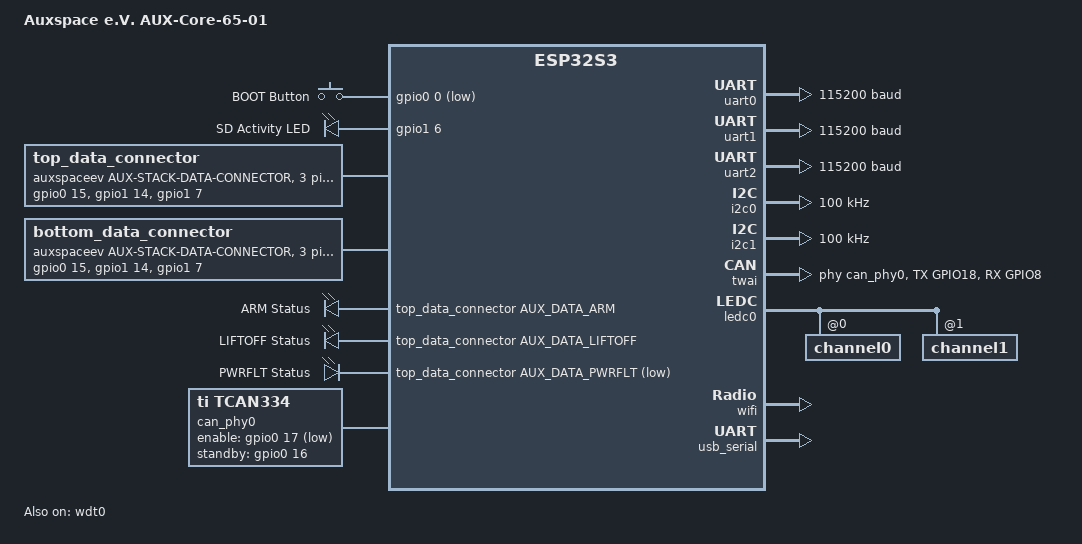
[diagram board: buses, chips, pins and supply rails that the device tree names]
/*
 * Copyright (c) 2025-2026 Auxspace e.V.
 *
 * SPDX-License-Identifier: Apache-2.0
 *
 * AUX-Core-6501 hardware:
 *   - ESP32-S3-WROOM-1 (U4)
 *   - Native SDHC micro-SD slot (J6), 4-bit, no separate card-detect line
 *   - ST LSM6DSO32 6-DoF IMU (U5) at 0x6a, INT1 on GPIO21
 *   - ST LSM6DSV320X high-g IMU (U1) at 0x6b, INT1 on GPIO10
 *   - TE MS5607-02BA barometer (U6) at 0x77, no interrupt line
 *   - ST LIS3MDL magnetometer (U7) at 0x1c, DRDY on GPIO48
 *   - TI TCAN334 CAN transceiver (U3) with STB and SHDN under GPIO control
 *   - Two AUX-Stack data connectors (J1 top, J2 bottom)
 *   - Green STATE LED (D4) and SD LED (D5); D3 is a hard-wired power LED
 *   - Buzzer (BZ1) driven through the Q1 FET
 *   - USB-C (J7) with a CH224A PD sink, native USB-Serial/JTAG console
 *
 * There is no remove-before-flight input on rev 01 and none is needed: the
 * AUX-Pwr board is the interlock, and only powers the Core board when the
 * vehicle should be armed. ARM and LIFTOFF are outputs towards the stack.
 */

#include <zephyr/dt-bindings/adc/adc.h>
#include <zephyr/dt-bindings/input/input-event-codes.h>
#include <zephyr/dt-bindings/input/esp32-touch-sensor-input.h>
#include <zephyr/dt-bindings/pwm/pwm.h>
#include <zephyr/dt-bindings/sensor/lsm6dso.h>
#include <zephyr/dt-bindings/sensor/lsm6dsvxxx.h>
#include <zephyr/dt-bindings/sensor/lsm6dsv320x.h>
#include <auxspace/dt-bindings/gpio/auxspaceev-aux-stack-data-connector.h>

/ {

	model = "Auxspace e.V. AUX-Core-65-01";
	compatible = "espressif,esp32s3";

	aliases {
		i2c-0 = &i2c0;
		i2c-1 = &i2c1;
		watchdog0 = &wdt0;
		uart-0 = &uart0;
		sw0 = &button0;
	};

	chosen {
		zephyr,sram = &sram1;
		zephyr,console = &usb_serial;
		zephyr,shell-uart = &usb_serial;
		zephyr,flash = &flash0;
		zephyr,code-partition = &slot0_partition;
		zephyr,bt-hci = &esp32_bt_hci;
	};

	buttons: buttons {
	compatible = "gpio-keys";

		/* SW3 shorts GPIO0 to GND through R23. */
		button0: button_0 {
			gpios = <&gpio0 0 (GPIO_PULL_UP | GPIO_ACTIVE_LOW)>;
			label = "BOOT Button";
			zephyr,code = <INPUT_KEY_0>;
		};
	};

	/* BZ1 sits between +3V3 and the drain of Q1, so a high on GPIO45
	 * sounds the buzzer.
	 */
	buzzer0: buzzer_0 {
		compatible = "pwm-buzzer";
		/* Default tone for buzzer_beep(); tones set their own period. */
		pwms = <&ledc0 0 PWM_HZ(4000) PWM_POLARITY_NORMAL>;
		status = "disabled";
	};

	pwmleds: pwmleds {
		compatible = "pwm-leds";
		status = "disabled";

		state_pwm_led: led_pwm_0 {
			pwms = <&ledc0 1 PWM_MSEC(20) PWM_POLARITY_NORMAL>;
			label = "STATE Notifier LED";
		};
	};

	status_leds: status-leds {
		compatible = "gpio-leds";

		/* SD LED; active high. */
		sd_activity_led: led_sd {
			gpios = <&gpio1 6 GPIO_ACTIVE_HIGH>;
			label = "SD Activity LED";
		};
	};

	/* J1 and J2 are wired in parallel for the information signals, so both
	 * connectors map onto the same MCU pins.
	 */
	top_data_connector: connector_0 {
		compatible = "auxspaceev,aux-stack-data-connector";
		#gpio-cells = <2>;
		gpio-map-mask = <0xffffffff 0xffffffc0>;
		gpio-map-pass-thru = <0 0x3f>;
		gpio-map = <AUX_DATA_ARM 0 &gpio0 15 0>,
			   <AUX_DATA_LIFTOFF 0 &gpio1 14 0>,
			   <AUX_DATA_PWRFLT 0 &gpio1 7 0>;

		can-bus = <&twai>;
		i2c-bus = <&i2c1>;
		uart-bus = <&uart1>;
	};

	bottom_data_connector: connector_1 {
		compatible = "auxspaceev,aux-stack-data-connector";
		#gpio-cells = <2>;
		gpio-map-mask = <0xffffffff 0xffffffc0>;
		gpio-map-pass-thru = <0 0x3f>;
		gpio-map = <AUX_DATA_ARM 0 &gpio0 15 0>,
			   <AUX_DATA_LIFTOFF 0 &gpio1 14 0>,
			   <AUX_DATA_PWRFLT 0 &gpio1 7 0>;

		can-bus = <&twai>;
		i2c-bus = <&i2c1>;
		uart-bus = <&uart2>;
	};

	/* Signals this board drives onto the stack. ARM and LIFTOFF report
	 * this board's own state outwards; neither is ever read back as an
	 * input
	 */
	status_signals: status-signals {
		compatible = "gpio-leds";

		arm_status: arm0 {
			gpios = <&top_data_connector AUX_DATA_ARM GPIO_ACTIVE_HIGH>;
			label = "ARM Status";
		};

		liftoff_status: liftoff0 {
			gpios = <&top_data_connector AUX_DATA_LIFTOFF GPIO_ACTIVE_HIGH>;
			label = "LIFTOFF Status";
		};

		pwrflt_status: pwrflt0 {
			gpios = <&top_data_connector AUX_DATA_PWRFLT GPIO_ACTIVE_LOW>;
			label = "PWRFLT Status";
		};
	};

	/* U3 TCAN334: SHDN (GPIO17) high shuts the transceiver down, STB
	 * (GPIO16) high puts it in standby. Both have to be driven low for
	 * normal operation, and neither has an external pull.
	 */
	can_phy0: can-phy0 {
		compatible = "ti,tcan334", "can-transceiver-gpio";
		enable-gpios = <&gpio0 17 GPIO_ACTIVE_LOW>;
		standby-gpios = <&gpio0 16 GPIO_ACTIVE_HIGH>;
		max-bitrate = <5000000>;
		#phy-cells = <0>;
	};

};

&pinctrl {
	/* J6 micro-SD slot. CD and DAT3 is shared, so there is no CD here. */
	sdmmc_default: sdmmc_default {
		group1 {
			pinmux = <SDHC0_CLKOUT_GPIO6>,
				 <SDHC0_CMD_GPIO40>,
				 <SDHC0_DATA0_GPIO5>,
				 <SDHC0_DATA1_GPIO4>,
				 <SDHC0_DATA2_GPIO42>,
				 <SDHC0_DATA3_GPIO41>;
			bias-pull-up;
		};
	};

	twai_default: twai_default {
		group1 {
			pinmux = <TWAI_TX_GPIO18>,
				 <TWAI_RX_GPIO8>;
		};
	};
};

&uart0 {
	current-speed = <115200>;
	pinctrl-0 = <&uart0_default>;
	pinctrl-names = "default";
};

aux_data_uart_top: &uart1 {
	current-speed = <115200>;
	pinctrl-0 = <&uart1_default>;
	pinctrl-names = "default";
};

aux_data_uart_bottom: &uart2 {
	current-speed = <115200>;
	pinctrl-0 = <&uart2_default>;
	pinctrl-names = "default";
};

&touch {
	debounce-interval-ms = <30>;
	href-microvolt = <2700000>;
	lref-microvolt = <500000>;
	href-atten-microvolt = <1000000>;
	filter-mode = <ESP32_TOUCH_FILTER_MODE_IIR_16>;
	filter-debounce-cnt = <1>;
	filter-noise-thr = <ESP32_TOUCH_FILTER_NOISE_THR_4_8TH>;
	filter-jitter-step = <4>;
	filter-smooth-level = <ESP32_TOUCH_FILTER_SMOOTH_MODE_IIR_2>;
};

&i2c0 {
	clock-frequency = <I2C_BITRATE_STANDARD>;
	pinctrl-0 = <&i2c0_default>;
	pinctrl-names = "default";

	/* U5, IMU. */
	lsm6dso320: lsm6dso32@6a {
		compatible = "st,lsm6dso32";
		reg = <0x6a>;
		irq-gpios = <&gpio0 21 GPIO_ACTIVE_HIGH>;
		int-pin = <1>;
		status = "disabled";
	};

	/* U1, High-G Accel. Reaching the 32g..320g ranges needs
	 * accel-hg-odr to turn the high-g sensor on; left to the application.
	 */
	lsm6dsv320x0: lsm6dsv320x@6b {
		compatible = "st,lsm6dsv320x";
		reg = <0x6b>;
		int1-gpios = <&gpio0 10 GPIO_ACTIVE_HIGH>;
		drdy-pin = <1>;
		status = "disabled";
	};

	/* U7, Magnetometer. Only DRDY is wired; INT is unconnected since it is
	 * not supported by the driver anyways. Also there is pin shortage */
	lis3mdl0: lis3mdl@1c {
		compatible = "st,lis3mdl-magn";
		reg = <0x1c>;
		irq-gpios = <&gpio1 16 GPIO_ACTIVE_HIGH>;
		status = "disabled";
	};

	/* U6, Baro.
	 * The MS5607 has no interrupt output, so it has to be polled.
	 */
	ms5607_0: ms5607@77 {
		compatible = "meas,ms5607";
		reg = <0x77>;
		status = "disabled";
	};
};

aux_data_i2c: &i2c1 {
	clock-frequency = <I2C_BITRATE_STANDARD>;
	pinctrl-0 = <&i2c1_default>;
	pinctrl-names = "default";
};

aux_data_can: &twai {
	pinctrl-0 = <&twai_default>;
	pinctrl-names = "default";
	phys = <&can_phy0>;
};

&ledc0 {
	#address-cells = <1>;
	#size-cells = <0>;
	status = "okay";
	pinctrl-0 = <&ledc0_default>;
	pinctrl-names = "default";

	channel0@0 {
		reg = <0x0>;
		timer = <0>;
	};

	channel1@1 {
		reg = <0x1>;
		timer = <1>;
	};
};

&wifi {
	status = "okay";
};

&wdt0 {
	status = "okay";
};


&sdhc0 {
	bus-width = <4>;
	pinctrl-0 = <&sdmmc_default>;
	pinctrl-names = "default";
	max-bus-freq = <40000000>;
	status = "disabled";

	mmc0: mmc_0 {
		compatible = "zephyr,sdmmc-disk";
		disk-name = "MMC";
		status = "disabled";
	};
};

&usb_serial {
	status = "okay";
};
